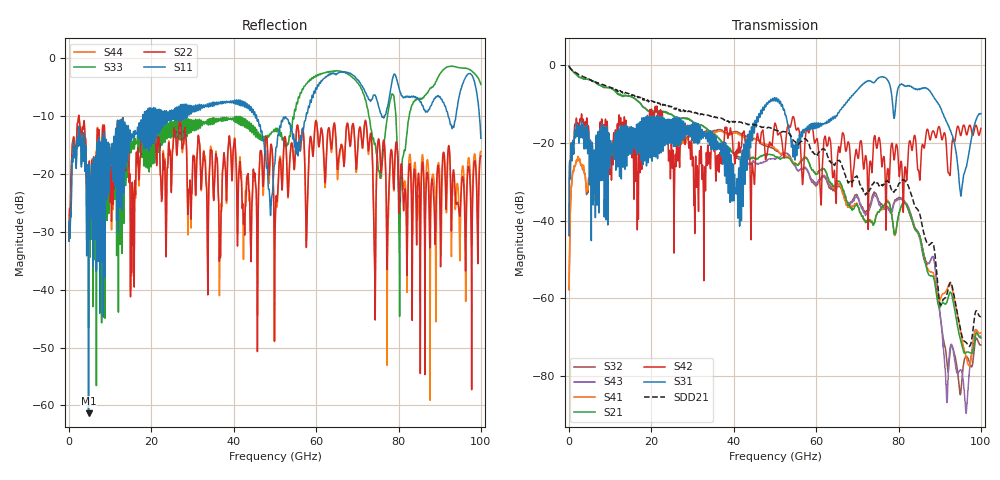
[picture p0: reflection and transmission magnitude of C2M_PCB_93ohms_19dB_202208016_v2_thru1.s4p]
! Info: Touchstone file created by Circ.  Input file=Intel_C2M_200G_6p5in_202208016_staggered.circ
# Hz S RI R 50
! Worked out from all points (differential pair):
!   10000 points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, 10 MHz to 100 GHz, reference 50 ohm
!   strongest paths, dB at 10 MHz, 25.01 GHz, 50.01 GHz, 75.01 GHz, 100 GHz:
!     S31: -43.8, -16.6, -8.5, -3.4, -12.4
!     S42: -43.8, -26.0, -14.9, -19.8, -16.3
!     S21: -0.2, -12.7, -23.6, -37.7, -70.2
!     S41: -57.7, -19.5, -21.4, -37.7, -68.9
!     S43: -0.2, -12.7, -24.2, -34.8, -69.7
!     S32: -57.7, -19.3, -21.9, -34.3, -72.0
!   taken as a pair (ports 1,3 in; 2,4 out), SDD21 dB: -0.2, -10.8, -16.7, -30.4, -64.7
!   lowest |S11| = -61.4 dB at 4.73 GHz (marker M1), VSWR 1.00, Z = 49.9 + j0.01 ohm
!   |S11| at or under -10 dB: start of sweep to 17.88 GHz; 45.52 GHz to 57.56 GHz (12.03 GHz wide, 23.3 % of centre); 92.03 GHz to 93.94 GHz (1.911 GHz wide, 2.05 % of centre)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
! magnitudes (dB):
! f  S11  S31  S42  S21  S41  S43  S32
! 10 MHz  -31.6  -43.8  -43.8  -0.2  -57.7  -0.2  -57.7
! 1.29 GHz  -17.3  -17.7  -16.4  -2.0  -25.8  -2.0  -25.8
! 4.73 GHz  -61.4  -16.9  -15.9  -3.7  -29.2  -3.7  -29.6
! 65 GHz  -2.7  -13.0  -28.7  -30.2  -30.7  -31.0  -31.6
! 80.6 GHz  -6.3  -4.9  -24.7  -36.4  -36.7  -34.5  -34.2
! 91.63 GHz  -9.1  -14.5  -21.0  -61.2  -58.0  -85.1  -75.0
! 100 GHz  -13.9  -12.4  -16.3  -70.2  -68.9  -69.7  -72.0
